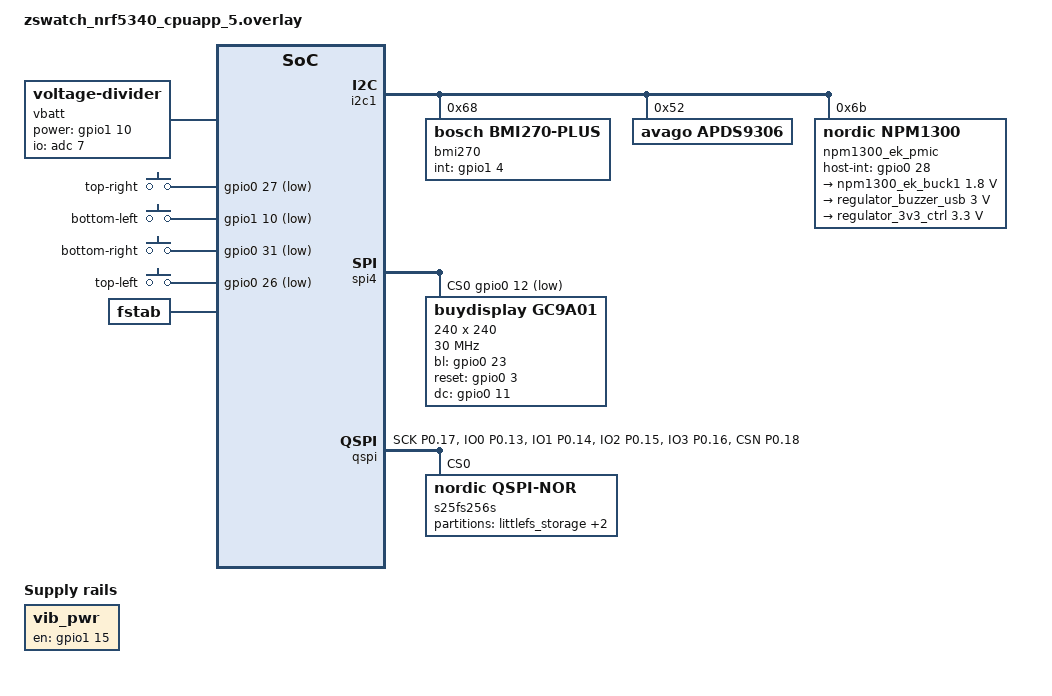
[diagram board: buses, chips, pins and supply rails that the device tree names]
#include <dt-bindings/regulator/npm1300.h>
#include <zephyr/dt-bindings/input/input-event-codes.h>

&pinctrl {
	pwm0_default: pwm0_default {
		group1 {
			psels = <NRF_PSEL(PWM_OUT0, 0, 23)>;
		};
	};

	pwm0_sleep: pwm0_sleep {
		group1 {
			psels = <NRF_PSEL(PWM_OUT0, 0, 23)>;
			low-power-enable;
		};
	};

	pwm1_default: pwm1_default {
		group1 {
			psels = <NRF_PSEL(PWM_OUT0, 1, 5)>;
		};
	};

	pwm1_sleep: pwm1_sleep {
		group1 {
			psels = <NRF_PSEL(PWM_OUT0, 1, 5)>;
			low-power-enable;
		};
	};

    i2c1_default: i2c1_default {
		group1 {
			psels = <NRF_PSEL(TWIM_SDA, 0, 10)>,
				<NRF_PSEL(TWIM_SCL, 0, 7)>;
		};
	};

	i2c1_sleep: i2c1_sleep {
		group1 {
			psels = <NRF_PSEL(TWIM_SDA, 0, 10)>,
				<NRF_PSEL(TWIM_SCL, 0, 7)>;
			low-power-enable;
		};
	};

    qspi_default: qspi_default {
		group1 {
			psels = <NRF_PSEL(QSPI_SCK, 0, 17)>,
				<NRF_PSEL(QSPI_IO0, 0, 13)>,
				<NRF_PSEL(QSPI_IO1, 0, 14)>,
				<NRF_PSEL(QSPI_IO2, 0, 15)>,
				<NRF_PSEL(QSPI_IO3, 0, 16)>,
				<NRF_PSEL(QSPI_CSN, 0, 18)>;
			nordic,drive-mode = <NRF_DRIVE_H0H1>;
		};
	};

	qspi_sleep: qspi_sleep {
		group1 {
			psels = <NRF_PSEL(QSPI_SCK, 0, 17)>,
				<NRF_PSEL(QSPI_IO0, 0, 13)>,
				<NRF_PSEL(QSPI_IO1, 0, 14)>,
				<NRF_PSEL(QSPI_IO2, 0, 15)>,
				<NRF_PSEL(QSPI_IO3, 0, 16)>;
			low-power-enable;
		};
		group2 {
			psels = <NRF_PSEL(QSPI_CSN, 0, 18)>;
			low-power-enable;
			bias-pull-up;
		};
	};

};

&uicr {
    nfct-pins-as-gpios;
};

/ {
	chosen {
		nordic,pm-ext-flash = &s25fs256s;
	};

	aliases {
		spi-flash0 = &s25fs256s;
	};

    vbatt {
        compatible = "voltage-divider";
        io-channels = <&adc 7>;
        output-ohms = <220000>;
        full-ohms = <(1500000 + 220000)>;
        power-gpios = <&gpio1 10 0>;
    };

    longpress: longpress {
        input = <&buttons>;
        compatible = "zephyr,input-longpress";
        input-codes = <INPUT_KEY_KP0>;
        short-codes = <INPUT_KEY_3>;
        long-codes = <INPUT_KEY_Y>;
        long-delay-ms = <10000>;
    };

	buttons: buttons {
        compatible = "gpio-keys";
        button1: button_1 {
            label = "top-right";
            gpios = <&gpio0 27 (GPIO_PULL_UP | GPIO_ACTIVE_LOW)>;
            zephyr,code = <INPUT_KEY_1>;
        };
        button2: button_2 {
            label = "bottom-left";
            gpios = <&gpio1 10 (GPIO_PULL_UP | GPIO_ACTIVE_LOW)>;
            zephyr,code = <INPUT_KEY_2>;
        };
        button3: button_3 {
            label = "bottom-right";
            gpios = <&gpio0 31 (GPIO_PULL_UP | GPIO_ACTIVE_LOW)>;
            zephyr,code = <INPUT_KEY_KP0>;
        };
        button4: button_4 {
            label = "top-left";
            gpios = <&gpio0 26 (GPIO_PULL_UP | GPIO_ACTIVE_LOW)>;
            zephyr,code = <INPUT_KEY_4>;
        };
    };

	vib_pwr: vib-pwr-ctrl {
        compatible = "regulator-fixed";
        regulator-name = "vib-pwr-ctrl";
        enable-gpios = <&gpio1 15 GPIO_ACTIVE_HIGH>;
    };

};

&i2c1 {
    bmi270: bmi270@68 {
        compatible = "bosch,bmi270-plus";
        reg = <0x68>;
        status = "okay";
        int-gpios = <&gpio1 4 (GPIO_PULL_DOWN | GPIO_ACTIVE_HIGH)>;
        // NOTE: The swap is performed AFTER the axis inversion. So we have to invert the y axis of the sensor
        // to get the x axis of the watch coordinate system.
        swap-xy;
        invert-y;
    };

    apds9306: apds9306@52 {
        compatible = "avago,apds9306";
        reg = <0x52>;
        status = "okay";
        gain = <0>;
        resolution = <0>;
        frequency = <0>;
    };
	npm1300_ek_pmic: pmic@6b {
		compatible = "nordic,npm1300";
		reg = <0x6b>;
		host-int-gpios = <&gpio0 28 GPIO_ACTIVE_HIGH>;
		pmic-int-pin	= <4>;

		npm1300_ek_gpio: gpio-controller {
			compatible = "nordic,npm1300-gpio";
			gpio-controller;
			#gpio-cells = <2>;
			ngpios = <5>;
		};

		npm1300_ek_regulators: regulators {
			compatible = "nordic,npm1300-regulator";

			npm1300_ek_buck1: BUCK1 {
				regulator-min-microvolt = <1800000>;
				regulator-max-microvolt = <1800000>;
				regulator-boot-on;
				regulator-always-on;
			};

			regulator_buzzer_usb: BUCK2 {
				regulator-min-microvolt = <3000000>;
				regulator-max-microvolt = <3000000>;
				regulator-init-microvolt = <3000000>;
			};

			regulator_3v3_ctrl: LDO1 {
				regulator-min-microvolt = <3300000>;
				regulator-max-microvolt = <3300000>;
				regulator-initial-mode = <NPM1300_LDSW_MODE_LDO>;
				regulator-boot-on;
			};
			/*
			// LDO2 is not used
			npm1300_ek_ldo2: ldo2 {
				status = "disabled";
			};
			*/
		};

		npm1300_ek_charger: charger {
			compatible = "nordic,npm1300-charger";
			term-microvolt = <4150000>;
			term-warm-microvolt = <4000000>;
			current-microamp = <150000>;
			dischg-limit-microamp = <1000000>;
			vbus-limit-microamp = <500000>;
			thermistor-ohms = <10000>;
			thermistor-beta = <3380>;
			charging-enable;
		};
	   	/*
		npm1300_ek_buttons: buttons {
			compatible = "gpio-keys";
			pmic_button0: pmic_button_0 {
				gpios = < &npm1300_ek_gpio 0 GPIO_ACTIVE_HIGH>;
				label = "Pmic button switch 0";
			zephyr,code = <INPUT_KEY_0>;
			};
		};*/
	};
};

&spi4  {
    status = "okay";
    compatible = "nordic,nrf-spim";
    pinctrl-0 = <&spi4_default>;
    pinctrl-1 = <&spi4_sleep>;
    pinctrl-names = "default", "sleep";
    cs-gpios = <&gpio0 12 GPIO_ACTIVE_LOW>;

    gc9a01: gc9a01@0 {
        compatible = "buydisplay,gc9a01";
        status = "okay";
        spi-max-frequency = <30000000>;
        reg = <0>;
        width = <240>;
        height = <240>;
        bl-gpios = <&gpio0 23 GPIO_ACTIVE_HIGH>;
        reset-gpios = <&gpio0 3 GPIO_ACTIVE_HIGH>;
        dc-gpios = <&gpio0 11 GPIO_ACTIVE_HIGH>;
    };
};

&qspi {
	status = "okay";
	pinctrl-0 = <&qspi_default>;
	pinctrl-1 = <&qspi_sleep>;
	pinctrl-names = "default", "sleep";
	s25fs256s: s25fs256s@0 {
		compatible = "nordic,qspi-nor";
		reg = <0>;
		sck-frequency = <96000000>;
		jedec-id = [01 02 19];
		size = <DT_SIZE_M(32*8)>;
		has-dpd;
        // CS High to Power-Down Mode (tDP) - 3 us
        // Rev. S Table 26. AC Electrical Characteristic
		t-enter-dpd = <3000>;
        // CS High to Standby Mode without Electronic Signature Read (tRES1) 3 us
        // Rev. S Table 26. AC Electrical Characteristic
		t-exit-dpd = <3000>;
		// Configure to actully use Quad SPI data.
		// TODO
		//writeoc = "pp4o";
		//readoc = "read4io";
		//quad-enable-requirements = "S2B1v6";
	};
};

/ {
	fstab {
		compatible = "zephyr,fstab";
		lvgl_lfs: lvgl_lfs {
			compatible = "zephyr,fstab,littlefs";
			mount-point = "/lvgl_lfs";
			partition = <&littlefs_storage>;
			automount;
			read-size = <512>;
			prog-size = <512>;
			cache-size = <512>;
			lookahead-size = <4096>;
			block-cycles = <512>;
		};
	};
};

/delete-node/ &storage_partition;

&s25fs256s {
	partitions {
		compatible = "fixed-partitions";
		#address-cells = <1>;
		#size-cells = <1>;
		
		// For Nordic Partition manager to work it has to have this name.
		littlefs_storage: partition@0 {
			label = "littlefs_storage";
			reg = <0x00000000 0x00200000>;
		};
		lvgl_raw_partition: partition@200000 {
			label = "lvgl_raw_partition";
			reg = <0x00200000 0x00200000>;
		};
		storage_partition: partition@400000 {
			label = "storage_partition";
			reg = <0x400000 0x100000 >;
		};
	};
};
